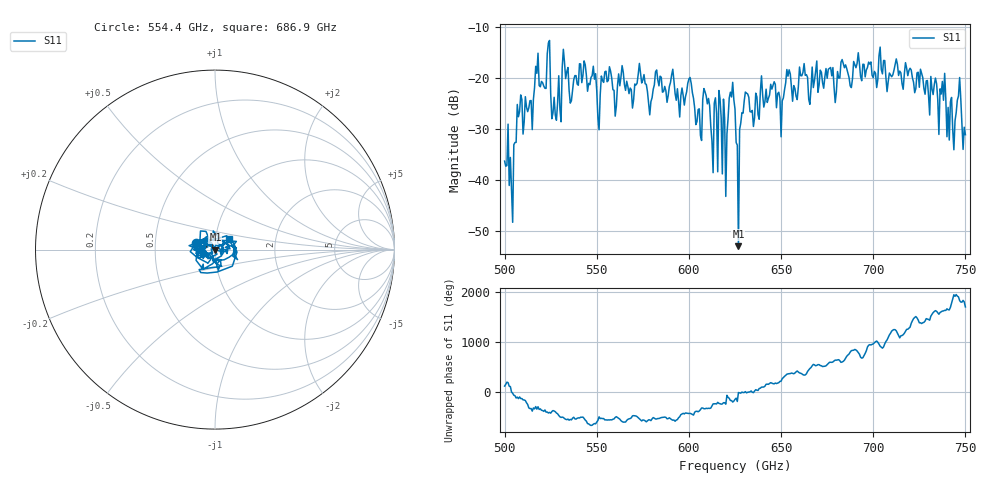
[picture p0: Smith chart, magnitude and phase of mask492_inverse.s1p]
!Created with skrf (http://scikit-rf.org).
# GHz S MA R 50.0
!freq magS11 angS11
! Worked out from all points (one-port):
!   401 points, 500 GHz to 750 GHz, reference 50 ohm
!   lowest |S11| = -53.0 dB at 626.9 GHz (marker M1), VSWR 1.00, Z = 50.2 - j0.0488 ohm
!   |S11| at or under -10 dB: start of sweep to end of sweep
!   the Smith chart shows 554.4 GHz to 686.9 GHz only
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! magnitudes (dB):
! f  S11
! 500 GHz  -36.3
! 503.8 GHz  -42.0
! 508.1 GHz  -26.6
! 513.8 GHz  -24.5
! 517.5 GHz  -19.1
! 523.8 GHz  -13.2
! 526.9 GHz  -23.8
! 531.2 GHz  -18.0
! 548.1 GHz  -17.7
! 551.2 GHz  -30.2
! 562.5 GHz  -21.6
! 593.8 GHz  -22.2
! 600.6 GHz  -20.0
! 605.6 GHz  -26.1
! 609.4 GHz  -23.6
! 619.4 GHz  -28.0
! 623.1 GHz  -23.8
! 625 GHz  -26.1
! 626.9 GHz  -53.0
! 631.2 GHz  -23.0
! 634.4 GHz  -26.4
! 656.2 GHz  -24.6
! 687.5 GHz  -21.6
! 718.8 GHz  -19.6
! 737.5 GHz  -20.7
! 742.5 GHz  -23.9
! 746.2 GHz  -23.6
! 750 GHz  -31.2
